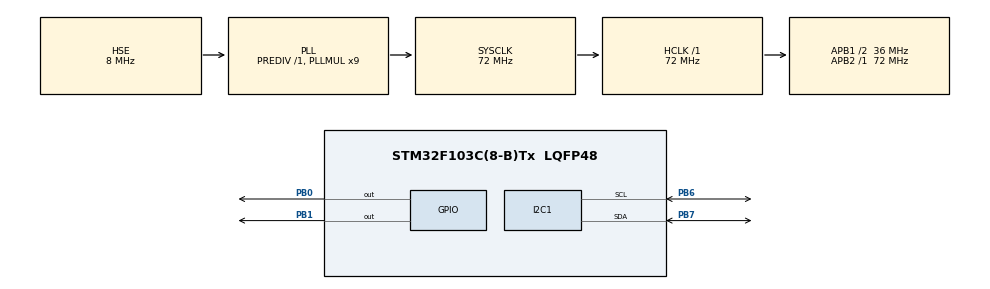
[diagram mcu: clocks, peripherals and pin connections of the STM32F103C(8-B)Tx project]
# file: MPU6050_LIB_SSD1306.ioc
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Mcu.Family=STM32F1
Mcu.Name=STM32F103C(8-B)Tx
Mcu.Package=LQFP48
NVIC.PriorityGroup=NVIC_PRIORITYGROUP_4
PA13.Mode=Serial_Wire
PA13.Signal=SYS_JTMS-SWDIO
PA14.Mode=Serial_Wire
PA14.Signal=SYS_JTCK-SWCLK
PB0.Signal=GPIO_Output
PB1.Signal=GPIO_Output
PB6.Mode=I2C
PB6.Signal=I2C1_SCL
PB7.Mode=I2C
PB7.Signal=I2C1_SDA
PD0-OSC_IN.Mode=HSE-External-Oscillator
PD0-OSC_IN.Signal=RCC_OSC_IN
PD1-OSC_OUT.Mode=HSE-External-Oscillator
PD1-OSC_OUT.Signal=RCC_OSC_OUT
ProjectManager.HeapSize=0x200
ProjectManager.StackSize=0x400
ProjectManager.TargetToolchain=STM32CubeIDE
RCC.AHBFreq_Value=72000000
RCC.APB1CLKDivider=RCC_HCLK_DIV2
RCC.APB1Freq_Value=36000000
RCC.APB1TimFreq_Value=72000000
RCC.APB2Freq_Value=72000000
RCC.APB2TimFreq_Value=72000000
RCC.HCLKFreq_Value=72000000
RCC.PLLMUL=RCC_PLL_MUL9
RCC.PLLSourceVirtual=RCC_PLLSOURCE_HSE
RCC.SYSCLKFreq_VALUE=72000000
RCC.SYSCLKSource=RCC_SYSCLKSOURCE_PLLCLK
RCC.USBFreq_Value=72000000
board=custom

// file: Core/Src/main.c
/* USER CODE BEGIN Header */
/**
  ******************************************************************************
  * @file           : main.c
  * @brief          : Main program body
  ******************************************************************************
  * @attention
  *
  * <h2><center>&copy; Copyright (c) 2021 STMicroelectronics.
  * All rights reserved.</center></h2>
  *
  * This software component is licensed by ST under BSD 3-Clause license,
  * the "License"; You may not use this file except in compliance with the
  * License. You may obtain a copy of the License at:
  *                        opensource.org/licenses/BSD-3-Clause
  *
  ******************************************************************************
  */
/* USER CODE END Header */
#include "main.h"

/* USER CODE BEGIN Includes */
#include "stdio.h"
#include "ssd1306.h"
#include "MPU6050.h"

/* USER CODE END Includes */

I2C_HandleTypeDef hi2c1;

/* USER CODE BEGIN PV */

char dfor[15];
uint8_t a;

/* USER CODE END PV */

void SystemClock_Config(void);
static void MX_GPIO_Init(void);
static void MX_I2C1_Init(void);

int main(void)
{

  /* MCU Configuration--------------------------------------------------------*/

  /* Reset of all peripherals, Initializes the Flash interface and the Systick. */
  HAL_Init();

  /* Configure the system clock */
  SystemClock_Config();

  /* Initialize all configured peripherals */
  MX_GPIO_Init();
  MX_I2C1_Init();
  /* USER CODE BEGIN 2 */
  __HAL_I2C_ENABLE(&hi2c1);
  ssd1306_Init();
  MPU6050_Initialize(&hi2c1);
  /* USER CODE END 2 */

  /* Infinite loop */
  while (1)
  {

    /* USER CODE BEGIN 3 */
		MPU6050_Read_Accel(&hi2c1);
		MPU6050_Read_Gyro(&hi2c1);
		MPU6050_Read_Temp(&hi2c1);
		MPU6050_Read_DeviceID(&hi2c1);

		ssd1306_Fill(Black);
		ssd1306_SetCursor(0, 0);
		sprintf(dfor, "Gx:%.4f", MPU6050_Gx);
		ssd1306_WriteString(dfor, Font_7x10, White);
		ssd1306_SetCursor(0, 10);
		sprintf(dfor, "Gy:%.4f", MPU6050_Gy);
		ssd1306_WriteString(dfor, Font_7x10, White);
		ssd1306_SetCursor(0, 20);
		sprintf(dfor, "Gz:%.4f", MPU6050_Gz);
		ssd1306_WriteString(dfor, Font_7x10, White);
		ssd1306_SetCursor(0, 30);
		sprintf(dfor, "Ax:%.4f", MPU6050_Ax);
		ssd1306_WriteString(dfor, Font_7x10, White);
		ssd1306_SetCursor(0, 40);
		sprintf(dfor, "Ay:%.4f", MPU6050_Ay);
		ssd1306_WriteString(dfor, Font_7x10, White);
		ssd1306_SetCursor(0, 50);
		sprintf(dfor, "Az:%.4f", MPU6050_Az);
		ssd1306_WriteString(dfor, Font_7x10, White);
		ssd1306_UpdateScreen();
		HAL_Delay(250);

  }
  /* USER CODE END 3 */
}

void SystemClock_Config(void)
{
  RCC_OscInitTypeDef RCC_OscInitStruct = {0};
  RCC_ClkInitTypeDef RCC_ClkInitStruct = {0};

  /** Initializes the RCC Oscillators according to the specified parameters
  * in the RCC_OscInitTypeDef structure.
  */
  RCC_OscInitStruct.OscillatorType = RCC_OSCILLATORTYPE_HSE;
  RCC_OscInitStruct.HSEState = RCC_HSE_ON;
  RCC_OscInitStruct.HSEPredivValue = RCC_HSE_PREDIV_DIV1;
  RCC_OscInitStruct.HSIState = RCC_HSI_ON;
  RCC_OscInitStruct.PLL.PLLState = RCC_PLL_ON;
  RCC_OscInitStruct.PLL.PLLSource = RCC_PLLSOURCE_HSE;
  RCC_OscInitStruct.PLL.PLLMUL = RCC_PLL_MUL9;
  if (HAL_RCC_OscConfig(&RCC_OscInitStruct) != HAL_OK)
  {
    Error_Handler();
  }
  /** Initializes the CPU, AHB and APB buses clocks
  */
  RCC_ClkInitStruct.ClockType = RCC_CLOCKTYPE_HCLK|RCC_CLOCKTYPE_SYSCLK
                              |RCC_CLOCKTYPE_PCLK1|RCC_CLOCKTYPE_PCLK2;
  RCC_ClkInitStruct.SYSCLKSource = RCC_SYSCLKSOURCE_PLLCLK;
  RCC_ClkInitStruct.AHBCLKDivider = RCC_SYSCLK_DIV1;
  RCC_ClkInitStruct.APB1CLKDivider = RCC_HCLK_DIV2;
  RCC_ClkInitStruct.APB2CLKDivider = RCC_HCLK_DIV1;

  if (HAL_RCC_ClockConfig(&RCC_ClkInitStruct, FLASH_LATENCY_2) != HAL_OK)
  {
    Error_Handler();
  }
}

static void MX_I2C1_Init(void)
{

  hi2c1.Instance = I2C1;
  hi2c1.Init.ClockSpeed = 100000;
  hi2c1.Init.DutyCycle = I2C_DUTYCYCLE_2;
  hi2c1.Init.OwnAddress1 = 0;
  hi2c1.Init.AddressingMode = I2C_ADDRESSINGMODE_7BIT;
  hi2c1.Init.DualAddressMode = I2C_DUALADDRESS_DISABLE;
  hi2c1.Init.OwnAddress2 = 0;
  hi2c1.Init.GeneralCallMode = I2C_GENERALCALL_DISABLE;
  hi2c1.Init.NoStretchMode = I2C_NOSTRETCH_DISABLE;
  if (HAL_I2C_Init(&hi2c1) != HAL_OK)
  {
    Error_Handler();
  }

}

static void MX_GPIO_Init(void)
{
  GPIO_InitTypeDef GPIO_InitStruct = {0};

  /* GPIO Ports Clock Enable */
  __HAL_RCC_GPIOD_CLK_ENABLE();
  __HAL_RCC_GPIOB_CLK_ENABLE();
  __HAL_RCC_GPIOA_CLK_ENABLE();

  /*Configure GPIO pin Output Level */
  HAL_GPIO_WritePin(GPIOB, GPIO_PIN_0|GPIO_PIN_1, GPIO_PIN_RESET);

  /*Configure GPIO pins : PB0 PB1 */
  GPIO_InitStruct.Pin = GPIO_PIN_0|GPIO_PIN_1;
  GPIO_InitStruct.Mode = GPIO_MODE_OUTPUT_PP;
  GPIO_InitStruct.Pull = GPIO_NOPULL;
  GPIO_InitStruct.Speed = GPIO_SPEED_FREQ_LOW;
  HAL_GPIO_Init(GPIOB, &GPIO_InitStruct);

}

void Error_Handler(void)
{
	HAL_GPIO_WritePin(GPIOB, GPIO_PIN_0|GPIO_PIN_1, GPIO_PIN_SET);
  __disable_irq();
  while (1)
  {
  }
}

/************************ (C) COPYRIGHT STMicroelectronics *****END OF FILE****/
